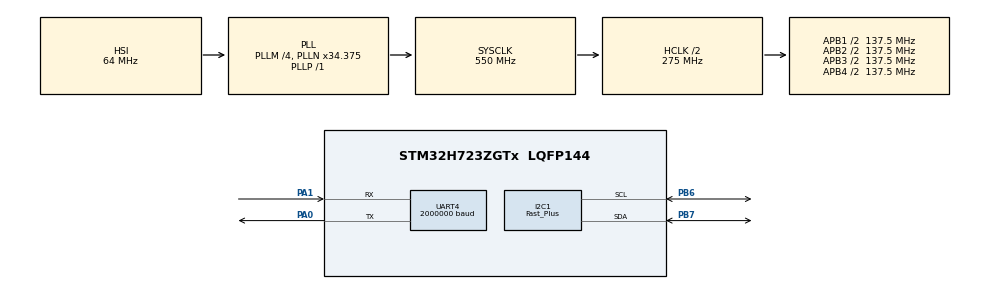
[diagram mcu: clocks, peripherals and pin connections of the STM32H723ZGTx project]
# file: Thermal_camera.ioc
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CORTEX_M7.default_mode_Activation=1
Dma.Request0=UART4_TX
Dma.UART4_TX.0.Direction=DMA_MEMORY_TO_PERIPH
Dma.UART4_TX.0.EventEnable=DISABLE
Dma.UART4_TX.0.FIFOMode=DMA_FIFOMODE_DISABLE
Dma.UART4_TX.0.Instance=DMA1_Stream0
Dma.UART4_TX.0.MemDataAlignment=DMA_MDATAALIGN_BYTE
Dma.UART4_TX.0.MemInc=DMA_MINC_ENABLE
Dma.UART4_TX.0.Mode=DMA_NORMAL
Dma.UART4_TX.0.PeriphDataAlignment=DMA_PDATAALIGN_BYTE
Dma.UART4_TX.0.PeriphInc=DMA_PINC_DISABLE
Dma.UART4_TX.0.Polarity=HAL_DMAMUX_REQ_GEN_RISING
Dma.UART4_TX.0.Priority=DMA_PRIORITY_HIGH
Dma.UART4_TX.0.RequestNumber=1
Dma.UART4_TX.0.SignalID=NONE
Dma.UART4_TX.0.SyncEnable=DISABLE
Dma.UART4_TX.0.SyncPolarity=HAL_DMAMUX_SYNC_NO_EVENT
Dma.UART4_TX.0.SyncRequestNumber=1
Dma.UART4_TX.0.SyncSignalID=NONE
I2C1.I2C_Speed_Mode=I2C_Fast_Plus
I2C1.Timing=0x00601A5C
Mcu.Family=STM32H7
Mcu.Name=STM32H723ZGTx
Mcu.Package=LQFP144
NVIC.DMA1_Stream0_IRQn=true\:0\:0\:false\:false\:true\:false\:true\:true
NVIC.PriorityGroup=NVIC_PRIORITYGROUP_4
NVIC.UART4_IRQn=true\:0\:0\:false\:false\:true\:false\:true\:true
PA0.Mode=Asynchronous
PA0.Signal=UART4_TX
PA1.Mode=Asynchronous
PA1.Signal=UART4_RX
PA13(JTMS/SWDIO).Mode=Serial_Wire
PA13(JTMS/SWDIO).Signal=DEBUG_JTMS-SWDIO
PA14(JTCK/SWCLK).Mode=Serial_Wire
PA14(JTCK/SWCLK).Signal=DEBUG_JTCK-SWCLK
PB6.Mode=I2C
PB6.Signal=I2C1_SCL
PB7.Mode=I2C
PB7.Signal=I2C1_SDA
PH0-OSC_IN.Mode=HSE-External-Oscillator
PH0-OSC_IN.Signal=RCC_OSC_IN
PH1-OSC_OUT.Mode=HSE-External-Oscillator
PH1-OSC_OUT.Signal=RCC_OSC_OUT
ProjectManager.HeapSize=0x200
ProjectManager.StackSize=0x400
ProjectManager.TargetToolchain=STM32CubeIDE
RCC.ADCFreq_Value=129000000
RCC.APB1Freq_Value=137500000
RCC.APB2Freq_Value=137500000
RCC.APB3Freq_Value=137500000
RCC.APB4Freq_Value=137500000
RCC.CortexFreq_Value=550000000
RCC.D1PPRE=RCC_APB3_DIV2
RCC.D2PPRE1=RCC_APB1_DIV2
RCC.D2PPRE2=RCC_APB2_DIV2
RCC.D3PPRE=RCC_APB4_DIV2
RCC.DIVM1=4
RCC.DIVN1=34
RCC.DIVP1=1
RCC.HCLKFreq_Value=275000000
RCC.HPRE=RCC_HCLK_DIV2
RCC.PLL2FRACN=0
RCC.PLL3FRACN=0
RCC.PLLFRACN=3072
RCC.SYSCLKFreq_VALUE=550000000
RCC.SYSCLKSource=RCC_SYSCLKSOURCE_PLLCLK
RCC.USBFreq_Value=275000000
UART4.BaudRate=2000000
VP_MEMORYMAP_VS_MEMORYMAP.Mode=CurAppReg
board=custom

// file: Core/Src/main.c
/* USER CODE BEGIN Header */
/**
  ******************************************************************************
  * @file           : main.c
  * @brief          : Main program body
  ******************************************************************************
  * @attention
  *
  * Copyright (c) 2026 STMicroelectronics.
  * All rights reserved.
  *
  * This software is licensed under terms that can be found in the LICENSE file
  * in the root directory of this software component.
  * If no LICENSE file comes with this software, it is provided AS-IS.
  *
  ******************************************************************************
  */
/* USER CODE END Header */
#include "main.h"

/* USER CODE BEGIN Includes */
#include "MLX90640_API.h"
#include "MLX90640_I2C_Driver.h"
#include <stdio.h>
#include <string.h>
/* USER CODE END Includes */

/* USER CODE BEGIN PD */
#define MLX90640_ADDR 0x33
/* USER CODE END PD */

I2C_HandleTypeDef hi2c1;

UART_HandleTypeDef huart4;
DMA_HandleTypeDef hdma_uart4_tx;

/* USER CODE BEGIN PV */
uint16_t eeMLX90640[832];       // Mảng chứa dữ liệu EEPROM
uint16_t frame[834];            // Mảng chứa dữ liệu thô của 1 khung hình
float MLX90640To[768];          // Mảng chứa nhiệt độ (độ C) của 32x24 pixels
paramsMLX90640 mlx90640Params;	// Chứa tham số calib
char txBuff[6000];
uint8_t sendbuf[6000], readbuf[512];
/* USER CODE END PV */

void SystemClock_Config(void);
static void MPU_Config(void);
static void MX_GPIO_Init(void);
static void MX_DMA_Init(void);
static void MX_I2C1_Init(void);
static void MX_UART4_Init(void);
/* USER CODE BEGIN PFP */
void MLX90640_Setup(void);
void MLX90640_Process(void);
/* USER CODE END PFP */

/* USER CODE BEGIN 0 */
void MLX90640_Setup(void)
{
    int status;
    char buffer[80];

    int chessStatus = MLX90640_SetChessMode(MLX90640_ADDR);
    // Thiết lập tốc độ làm tươi (Refresh Rate). Ví dụ: 0x03 = 4Hz, 0x04 = 8Hz
    int rrStatus = MLX90640_SetRefreshRate(MLX90640_ADDR, 0x04);

    // Kiểm tra 2 lệnh cấu hình trên có thực sự ghi xuống cảm biến thành công không,
    // và đọc lại thanh ghi điều khiển (0x800D) để xác nhận giá trị đã được áp dụng.
    sprintf(buffer, "ChessMode=%d RefreshRate=%d\r\n", chessStatus, rrStatus);
    HAL_UART_Transmit(&huart4, (uint8_t*)buffer, strlen(buffer), 50);

    uint16_t ctrlReg = 0;
    MLX90640_I2CRead(MLX90640_ADDR, 0x800D, 1, &ctrlReg);
    sprintf(buffer, "ControlReg(0x800D)=0x%04X\r\n", ctrlReg);
    HAL_UART_Transmit(&huart4, (uint8_t*)buffer, strlen(buffer), 50);

    // Đọc toàn bộ bộ nhớ EEPROM của cảm biến.
    // Thử lại vài lần: nếu lỗi -3..-6 lặp lại y hệt ở mọi lần đọc -> rất có thể
    // là dữ liệu hiệu chuẩn gốc của cảm biến, không phải do nhiễu I2C.
    int retry;
    for (retry = 0; retry < 3; retry++)
    {
        status = MLX90640_DumpEE(MLX90640_ADDR, eeMLX90640);
        if (status == 0) break;

        sprintf(buffer, "Loi doc EEPROM (lan %d/3): %d\r\n", retry + 1, status);
        HAL_UART_Transmit(&huart4, (uint8_t*)buffer, strlen(buffer), 50);
        HAL_Delay(10);
    }

    char debugMsg[100];
    sprintf(debugMsg, "EEPROM[0]=0x%04X | EEPROM[1]=0x%04X\r\n", eeMLX90640[0], eeMLX90640[1]);
    HAL_UART_Transmit(&huart4, (uint8_t*)debugMsg, strlen(debugMsg), 100);

    if (status != 0)
    {
        // -1/-2: lỗi I2C thật sự (NACK/timeout) -> không có dữ liệu hợp lệ, dừng hẳn
        // thay vì chạy tiếp với mảng eeMLX90640 rỗng/rác.
        sprintf(buffer, "Loi doc EEPROM sau 3 lan, dung lai!\r\n");
        HAL_UART_Transmit(&huart4, (uint8_t*)buffer, strlen(buffer), 50);
        while (1) { HAL_Delay(500); }
    }

    // Trích xuất các hệ số hiệu chuẩn vào struct
    status = MLX90640_ExtractParameters(eeMLX90640, &mlx90640Params);
    if (status != 0)
    {
        // -3 (>4 broken pixel), -4 (>4 outlier), -5 (tong > 4), -6 (2 pixel loi ke nhau):
        // đây chỉ là CẢNH BÁO về vài pixel trong EEPROM, các hệ số hiệu chuẩn khác
        // (Vdd, Ta, Gain, Offset, Alpha...) vẫn được tính đầy đủ phía trên hàm này.
        // KHÔNG dừng chương trình vì lỗi này - nếu dừng, sẽ không bao giờ có ảnh.
        sprintf(buffer, "Canh bao trich xuat (khong chan chuong trinh): %d\r\n", status);
        HAL_UART_Transmit(&huart4, (uint8_t*)buffer, strlen(buffer), 50);
    }
    char dbg3[160];
            int n3 = sprintf(dbg3,
                "EE[16]=0x%04X EE[49]=0x%04X EE[50]=0x%04X EE[51]=0x%04X\r\n",
                eeMLX90640[16], eeMLX90640[49], eeMLX90640[50], eeMLX90640[51]);
            HAL_UART_Transmit(&huart4, (uint8_t*)dbg3, n3, 50);

            n3 = sprintf(dbg3,
                "kVdd=%.1f vdd25=%.1f KvPTAT=%.5f KtPTAT=%.2f vPTAT25=%.1f alphaPTAT=%.2f\r\n",
                (float)mlx90640Params.kVdd, (float)mlx90640Params.vdd25, mlx90640Params.KvPTAT,
                mlx90640Params.KtPTAT, (float)mlx90640Params.vPTAT25, mlx90640Params.alphaPTAT);
            HAL_UART_Transmit(&huart4, (uint8_t*)dbg3, n3, 50);
}

// Đọc khung hình và gửi qua UART
void MLX90640_Process(void)
{
    int subpage;
    float ta, tr, vdd;
    float emissivity = 0.95; // Hệ số phát xạ

    // Đọc dữ liệu thô từ cảm biến
    subpage = MLX90640_GetFrameData(MLX90640_ADDR, frame);

    // DEBUG TẠM THỜI: in subpage ở MỌI lần gọi (kể cả khi hợp lệ) để biết
     // vòng lặp có đang chạy hay bị "treo" bên trong MLX90640_GetFrameData().
     // Xóa khối này sau khi xác định được nguyên nhân.

         char dbg[32];
         int n = sprintf(dbg, "[Frame] subpage=%d\r\n", subpage);
         HAL_UART_Transmit(&huart4, (uint8_t*)dbg, n, 50);

         if (subpage < 0) {
              char errBuf[50];
              sprintf(errBuf, "Loi Frame: %d\r\n", subpage);
              HAL_UART_Transmit(&huart4, (uint8_t*)errBuf, strlen(errBuf), 100);
          }
          if (subpage >= 0)
          { // Đọc thành công
          	vdd = MLX90640_GetVdd(frame, &mlx90640Params);
          	ta = MLX90640_GetTa(frame, &mlx90640Params);
          	tr = ta - 8.0f;

          	// DEBUG TẠM THỜI: kiểm tra vdd/ta/tr - nếu ta bất thường (vd vài trăm độ)
          	// thì đó chính là nguyên nhân toàn bộ ảnh bị lệch nhiệt độ rất cao.

          	    char dbg2[64];
          	    int n2 = sprintf(dbg2, "vdd=%.3f ta=%.2f tr=%.2f\r\n", vdd, ta, tr);
          	    HAL_UART_Transmit(&huart4, (uint8_t*)dbg2, n2, 50);

              // Tính toán ra nhiệt độ tuyệt đối (To)
              MLX90640_CalculateTo(frame, &mlx90640Params, emissivity, tr, MLX90640To);

              // TẠM THỜI: gửi mỗi khi đọc frame hợp lệ, KHÔNG chờ subpage==1 nữa.
              // (Bình thường nên đợi subpage==1 để có 1 ảnh đầy đủ/mới nhất, nhưng vì
              // subpage đang bị kẹt ở 0, ta bỏ điều kiện này để xác nhận pipeline
              // tính toán + gửi UART có hoạt động hay không.)
              {
              	int offset = 0;
      			for (int i = 0; i < 768; i++)
      			{
                          offset += sprintf(txBuff + offset, "%5.2f ", MLX90640To[i]);

                          // Nếu đã in đủ 32 cột thì xuống dòng để bắt đầu hàng mới
                          if ((i + 1) % 32 == 0)
                          {
                              offset += sprintf(txBuff + offset, "\r\n");
                          }
                  }
                      // In thêm vạch phân cách giữa các khung hình (Frames) để dễ nhìn
      			offset += sprintf(txBuff + offset, "--------------------------------------------------\r\n");
      			HAL_UART_Transmit(&huart4, (uint8_t*)txBuff, offset, HAL_MAX_DELAY);
              }
              //HAL_Delay(250);
          }
}
/* USER CODE END 0 */

int main(void)
{

  /* MPU Configuration--------------------------------------------------------*/
  MPU_Config();

  /* MCU Configuration--------------------------------------------------------*/

  /* Reset of all peripherals, Initializes the Flash interface and the Systick. */
  HAL_Init();

  /* Configure the system clock */
  SystemClock_Config();

  /* Initialize all configured peripherals */
  MX_GPIO_Init();
  MX_DMA_Init();
  MX_I2C1_Init();
  MX_UART4_Init();
  /* USER CODE BEGIN 2 */
  MLX90640_Setup();
  /* USER CODE END 2 */

  /* Infinite loop */
  while (1)
  {
	  MLX90640_Process();
  }
}

void SystemClock_Config(void)
{
  RCC_OscInitTypeDef RCC_OscInitStruct = {0};
  RCC_ClkInitTypeDef RCC_ClkInitStruct = {0};

  /** Supply configuration update enable
  */
  HAL_PWREx_ConfigSupply(PWR_LDO_SUPPLY);

  /** Configure the main internal regulator output voltage
  */
  __HAL_PWR_VOLTAGESCALING_CONFIG(PWR_REGULATOR_VOLTAGE_SCALE0);

  while(!__HAL_PWR_GET_FLAG(PWR_FLAG_VOSRDY)) {}

  /** Initializes the RCC Oscillators according to the specified parameters
  * in the RCC_OscInitTypeDef structure.
  */
  RCC_OscInitStruct.OscillatorType = RCC_OSCILLATORTYPE_HSI;
  RCC_OscInitStruct.HSIState = RCC_HSI_DIV1;
  RCC_OscInitStruct.HSICalibrationValue = 64;
  RCC_OscInitStruct.PLL.PLLState = RCC_PLL_ON;
  RCC_OscInitStruct.PLL.PLLSource = RCC_PLLSOURCE_HSI;
  RCC_OscInitStruct.PLL.PLLM = 4;
  RCC_OscInitStruct.PLL.PLLN = 34;
  RCC_OscInitStruct.PLL.PLLP = 1;
  RCC_OscInitStruct.PLL.PLLQ = 2;
  RCC_OscInitStruct.PLL.PLLR = 2;
  RCC_OscInitStruct.PLL.PLLRGE = RCC_PLL1VCIRANGE_3;
  RCC_OscInitStruct.PLL.PLLVCOSEL = RCC_PLL1VCOWIDE;
  RCC_OscInitStruct.PLL.PLLFRACN = 3072;
  if (HAL_RCC_OscConfig(&RCC_OscInitStruct) != HAL_OK)
  {
    Error_Handler();
  }

  /** Initializes the CPU, AHB and APB buses clocks
  */
  RCC_ClkInitStruct.ClockType = RCC_CLOCKTYPE_HCLK|RCC_CLOCKTYPE_SYSCLK
                              |RCC_CLOCKTYPE_PCLK1|RCC_CLOCKTYPE_PCLK2
                              |RCC_CLOCKTYPE_D3PCLK1|RCC_CLOCKTYPE_D1PCLK1;
  RCC_ClkInitStruct.SYSCLKSource = RCC_SYSCLKSOURCE_PLLCLK;
  RCC_ClkInitStruct.SYSCLKDivider = RCC_SYSCLK_DIV1;
  RCC_ClkInitStruct.AHBCLKDivider = RCC_HCLK_DIV2;
  RCC_ClkInitStruct.APB3CLKDivider = RCC_APB3_DIV2;
  RCC_ClkInitStruct.APB1CLKDivider = RCC_APB1_DIV2;
  RCC_ClkInitStruct.APB2CLKDivider = RCC_APB2_DIV2;
  RCC_ClkInitStruct.APB4CLKDivider = RCC_APB4_DIV2;

  if (HAL_RCC_ClockConfig(&RCC_ClkInitStruct, FLASH_LATENCY_3) != HAL_OK)
  {
    Error_Handler();
  }
}

static void MX_I2C1_Init(void)
{

  hi2c1.Instance = I2C1;
  hi2c1.Init.Timing = 0x00601A5C;
  hi2c1.Init.OwnAddress1 = 0;
  hi2c1.Init.AddressingMode = I2C_ADDRESSINGMODE_7BIT;
  hi2c1.Init.DualAddressMode = I2C_DUALADDRESS_DISABLE;
  hi2c1.Init.OwnAddress2 = 0;
  hi2c1.Init.OwnAddress2Masks = I2C_OA2_NOMASK;
  hi2c1.Init.GeneralCallMode = I2C_GENERALCALL_DISABLE;
  hi2c1.Init.NoStretchMode = I2C_NOSTRETCH_DISABLE;
  if (HAL_I2C_Init(&hi2c1) != HAL_OK)
  {
    Error_Handler();
  }

  /** Configure Analogue filter
  */
  if (HAL_I2CEx_ConfigAnalogFilter(&hi2c1, I2C_ANALOGFILTER_ENABLE) != HAL_OK)
  {
    Error_Handler();
  }

  /** Configure Digital filter
  */
  if (HAL_I2CEx_ConfigDigitalFilter(&hi2c1, 0) != HAL_OK)
  {
    Error_Handler();
  }

  /** I2C Enable Fast Mode Plus
  */
  HAL_I2CEx_EnableFastModePlus(I2C_FASTMODEPLUS_I2C1);

}

static void MX_UART4_Init(void)
{

  huart4.Instance = UART4;
  huart4.Init.BaudRate = 921600;
  huart4.Init.WordLength = UART_WORDLENGTH_8B;
  huart4.Init.StopBits = UART_STOPBITS_1;
  huart4.Init.Parity = UART_PARITY_NONE;
  huart4.Init.Mode = UART_MODE_TX_RX;
  huart4.Init.HwFlowCtl = UART_HWCONTROL_NONE;
  huart4.Init.OverSampling = UART_OVERSAMPLING_16;
  huart4.Init.OneBitSampling = UART_ONE_BIT_SAMPLE_DISABLE;
  huart4.Init.ClockPrescaler = UART_PRESCALER_DIV1;
  huart4.AdvancedInit.AdvFeatureInit = UART_ADVFEATURE_NO_INIT;
  if (HAL_UART_Init(&huart4) != HAL_OK)
  {
    Error_Handler();
  }
  if (HAL_UARTEx_SetTxFifoThreshold(&huart4, UART_TXFIFO_THRESHOLD_1_8) != HAL_OK)
  {
    Error_Handler();
  }
  if (HAL_UARTEx_SetRxFifoThreshold(&huart4, UART_RXFIFO_THRESHOLD_1_8) != HAL_OK)
  {
    Error_Handler();
  }
  if (HAL_UARTEx_DisableFifoMode(&huart4) != HAL_OK)
  {
    Error_Handler();
  }

}

static void MX_DMA_Init(void)
{

  /* DMA controller clock enable */
  __HAL_RCC_DMA1_CLK_ENABLE();

  /* DMA interrupt init */
  /* DMA1_Stream0_IRQn interrupt configuration */
  HAL_NVIC_SetPriority(DMA1_Stream0_IRQn, 0, 0);
  HAL_NVIC_EnableIRQ(DMA1_Stream0_IRQn);

}

static void MX_GPIO_Init(void)
{

  /* GPIO Ports Clock Enable */
  __HAL_RCC_GPIOH_CLK_ENABLE();
  __HAL_RCC_GPIOA_CLK_ENABLE();
  __HAL_RCC_GPIOB_CLK_ENABLE();

}

 /* MPU Configuration */

void MPU_Config(void)
{
  MPU_Region_InitTypeDef MPU_InitStruct = {0};

  /* Disables the MPU */
  HAL_MPU_Disable();

  /** Initializes and configures the Region and the memory to be protected
  */
  MPU_InitStruct.Enable = MPU_REGION_ENABLE;
  MPU_InitStruct.Number = MPU_REGION_NUMBER0;
  MPU_InitStruct.BaseAddress = 0x0;
  MPU_InitStruct.Size = MPU_REGION_SIZE_4GB;
  MPU_InitStruct.SubRegionDisable = 0x87;
  MPU_InitStruct.TypeExtField = MPU_TEX_LEVEL0;
  MPU_InitStruct.AccessPermission = MPU_REGION_NO_ACCESS;
  MPU_InitStruct.DisableExec = MPU_INSTRUCTION_ACCESS_DISABLE;
  MPU_InitStruct.IsShareable = MPU_ACCESS_SHAREABLE;
  MPU_InitStruct.IsCacheable = MPU_ACCESS_NOT_CACHEABLE;
  MPU_InitStruct.IsBufferable = MPU_ACCESS_NOT_BUFFERABLE;

  HAL_MPU_ConfigRegion(&MPU_InitStruct);
  /* Enables the MPU */
  HAL_MPU_Enable(MPU_PRIVILEGED_DEFAULT);

}

void Error_Handler(void)
{
  __disable_irq();
  while (1)
  {
  }
}
